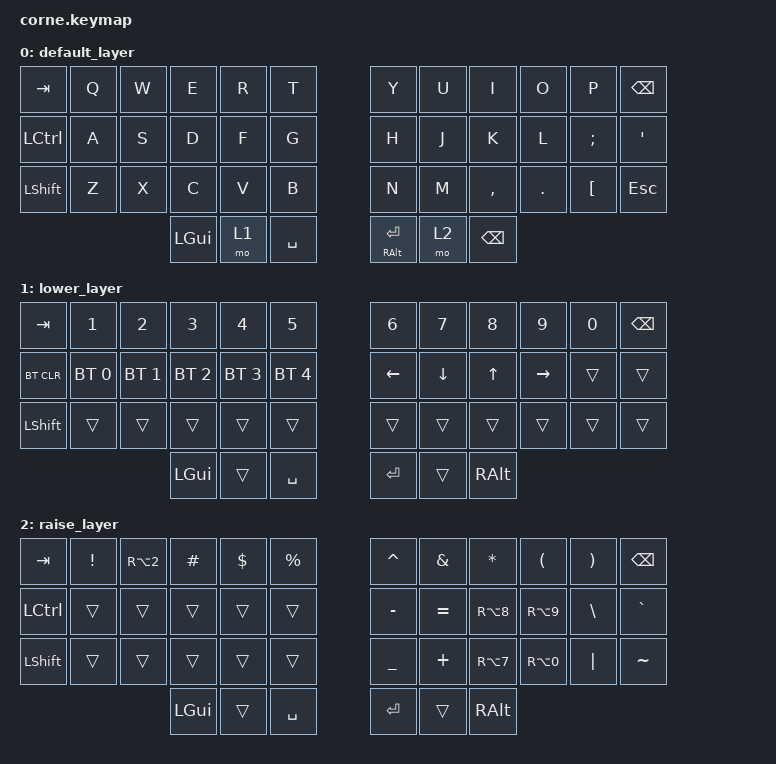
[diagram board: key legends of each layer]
/*
 * ZMK keymap for Norwegian (Bokmål)
 * Keeps your original structure; adjusts symbols to match NO layout.
 * SPDX-License-Identifier: MIT
 */

#include <behaviors.dtsi>
#include <dt-bindings/zmk/keys.h>
#include <dt-bindings/zmk/bt.h>

 / {
    keymap {
        compatible = "zmk,keymap";

        default_layer {
            // -----------------------------------------------------------------------------------------
            // |  TAB |  Q  |  W  |  E  |  R  |  T  |   |  Y  |  U   |  I  |  O  |  P  | BSPC |
            // | SHFT |  A  |  S  |  D  |  F  |  G  |   |  H  |  J   |  K  |  L  |  ;  |  '   |
            // | CTRL |  Z  |  X  |  C  |  V  |  B  |   |  N  |  M   |  ,  |  .  |  Å  | ESC  |
            //                    | GUI | LWR | SPC |   | ENT | RSE  | ALT |
        // Simplified: only three layers (base, lower=nums+arrows, raise=symbols+media/edit).
        // Enter remains mod-tap AltGr for Norwegian symbols when held; Space is plain.
        // Rightmost thumb now: Lower, Raise, Backspace for quick access.
        bindings = <
   &kp TAB   &kp Q &kp W &kp E &kp R &kp T      &kp Y &kp U  &kp I     &kp O   &kp P    &kp BSPC
   &kp LCTRL &kp A &kp S &kp D &kp F &kp G      &kp H &kp J  &kp K     &kp L   &kp SEMI &kp SQT
   &kp LSHFT &kp Z &kp X &kp C &kp V &kp B      &kp N &kp M  &kp COMMA &kp DOT &kp LBKT &kp ESC
            &kp LGUI &mo 1 &kp SPACE      &mt RALT RET &mo 2 &kp BSPC
        >;
        };

        lower_layer {
            // -----------------------------------------------------------------------------------------
            // |  TAB |  1  |  2  |  3  |  4  |  5  |   |  6  |  7  |  8  |  9  |  0  | BSPC |
            // | SHFT | BT1 | BT2 | BT3 | BT4 | BT5 |   | LFT | DWN |  UP | RGT |     |      |
            // | BTCLR|     |     |     |     |     |   |     |     |     |     |     |      |
            //                    | GUI |     | SPC |   | ENT |     | ALT |
            bindings = <
   &kp TAB    &kp N1       &kp N2       &kp N3       &kp N4       &kp N5         &kp N6   &kp N7   &kp N8 &kp N9    &kp N0 &kp BSPC
   &bt BT_CLR &bt BT_SEL 0 &bt BT_SEL 1 &bt BT_SEL 2 &bt BT_SEL 3 &bt BT_SEL 4   &kp LEFT &kp DOWN &kp UP &kp RIGHT &trans &trans
   &kp LSHFT  &trans       &trans       &trans       &trans       &trans         &trans   &trans   &trans &trans    &trans &trans
                                    &kp LGUI     &trans       &kp SPACE      &kp RET  &trans   &kp RALT
            >;
        };

        raise_layer {
            // -----------------------------------------------------------------------------------------
            // |  TAB |  !  |  @  |  #  |  $  |  %  |   |  ^  |  &  |  *  |  (  |  )  | BSPC |
            // | SHFT |     |     |     |     |     |   |  -  |  =  |  [  |  ]  |  \  |  `   |
            // | CTRL |     |     |     |     |     |   |  _  |  +  |  {  |  }  | "|" |  ~   |
            //                    | GUI |     | SPC |   | ENT |     | ALT |
            //
            // Norwegian specifics:
            //   @  = AltGr+2  -> RA(N2)
            //   [  = AltGr+8  -> RA(N8)
            //   ]  = AltGr+9  -> RA(N9)
            //   {  = AltGr+7  -> RA(N7)
            //   }  = AltGr+0  -> RA(N0)
            bindings = <
   &kp  TAB  &kp EXCL &kp RA(N2) &kp HASH &kp DLLR &kp PRCNT   &kp CARET &kp AMPS  &kp ASTRK &kp LPAR &kp RPAR &kp BSPC
   &kp LCTRL &trans   &trans     &trans   &trans    &trans      &kp MINUS &kp EQUAL &kp RA(N8) &kp RA(N9) &kp BSLH &kp GRAVE
   &kp LSHFT &trans   &trans     &trans   &trans    &trans      &kp UNDER &kp PLUS  &kp RA(N7) &kp RA(N0) &kp PIPE &kp TILDE
                             &kp LGUI &trans   &kp SPACE   &kp RET   &trans    &kp RALT
            >;
        };

    // (Removed separate nav + function layers to keep layout minimal.)
    };
};
